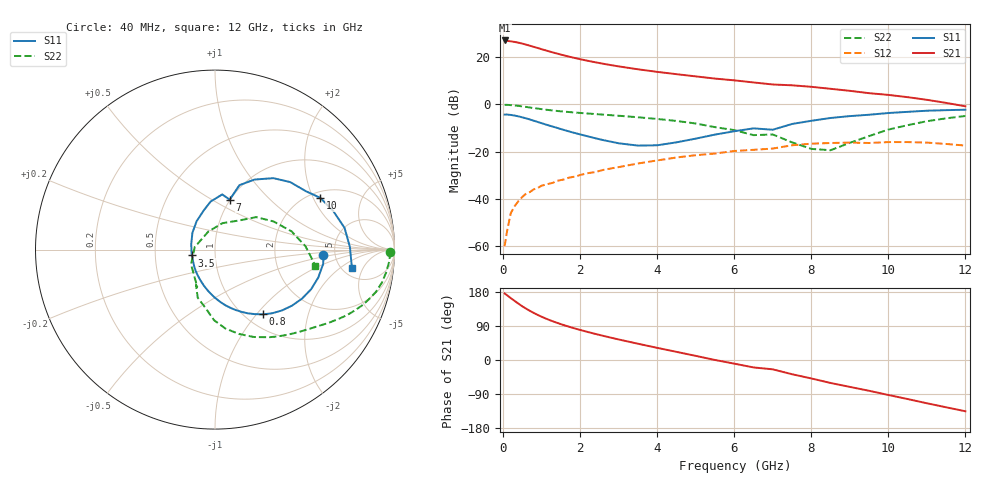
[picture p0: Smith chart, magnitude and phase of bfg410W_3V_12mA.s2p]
! Filename: 312bfg410.001
! BFG410W Field B1
! V1=8.725E-001V,V2=3.000E+000V, I1=1.809E-004A, I2=1.202E-002A
# GHz  S  MA  R 50
!  S11  S21  S12  S22
!Freq(GHz)  Mag  Ang  Mag  Ang  Mag  Ang  Mag  Ang
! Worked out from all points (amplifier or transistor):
!   44 points, 40 MHz to 12 GHz, reference 50 ohm
!   highest |S21| = 27.0 dB at 40 MHz (marker M1)
!   |S21| within 3 dB of that: start of sweep to 858.3 MHz
!   unconditionally stable (mu >= 1): 1.774 GHz to end of sweep
!   at 700 MHz: K = 0.56, MSG = 30.9 dB, |S12| = -37.1 dB
!   at 2.4 GHz: K = 1.14, MAG = 20.9 dB, |S12| = -28.6 dB
!   at 12 GHz: K = 1.50, MAG = 4.1 dB, |S12| = -17.5 dB
!   S11 on the Smith chart (normalised r, x): 40 MHz: 4.03, -0.36; 800 MHz: 1.20, -1.08; 3.5 GHz: 0.77, -0.05; 7 GHz: 1.00, +0.60; 10 GHz: 2.26, +2.27; 12 GHz: 6.15, -3.01
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0.04  0.605 -2.7  22.41 175.4  0.001 87.4  0.973 -0.7
0.2  0.596 -15.2  21.47 163.2  0.005 80.9  0.962 -7.6
0.3  0.579 -22.5  20.86 156.0  0.007 78.1  0.948 -11.2
0.4  0.556 -29.5  20.1 148.6  0.009 75.1  0.927 -14.7
0.5  0.53 -36.2  19.22 141.6  0.011 71.8  0.903 -17.7
0.6  0.504 -42.3  18.27 135.3  0.013 69.9  0.88 -20.4
0.8  0.449 -53.4  16.38 124.0  0.016 66.1  0.833 -25.2
1.1  0.376 -67.1  13.87 109.8  0.02 62.5  0.772 -30.9
1.4  0.318 -78.9  11.85 98.2  0.024 60.4  0.724 -35.6
1.8  0.255 -93.3  9.806 85.1  0.029 58.1  0.677 -41.3
2.2  0.21 -107.2  8.321 73.9  0.035 55.8  0.639 -46.9
2.8  0.162 -131.0  6.747 58.9  0.044 51.7  0.589 -55.5
3.5  0.134 -165.8  5.506 43.0  0.056 45.3  0.533 -66.0
4.5  0.157 143.2  4.34 21.5  0.075 33.3  0.445 -82.3
5.5  0.229 105.5  3.5 0.1  0.091 18.2  0.329 -99.3
6.5  0.31 82.5  2.901 -19.6  0.109 4.1  0.223 -118.5
7  0.29 73.6  2.626 -24.6  0.116 8.2  0.23 -115.5
7.5  0.384 69.2  2.524 -37.5  0.136 -6.9  0.157 -148.1
8.5  0.514 50.7  2.128 -60.6  0.152 -29.9  0.107 110.3
10  0.654 26.1  1.582 -92.3  0.159 -59.9  0.292 38.3
10.5  0.693 18.0  1.416 -103.0  0.159 -70.5  0.362 25.7
12  0.769 -7.5  0.908 -135.3  0.134 -108.5  0.567 -9.1
